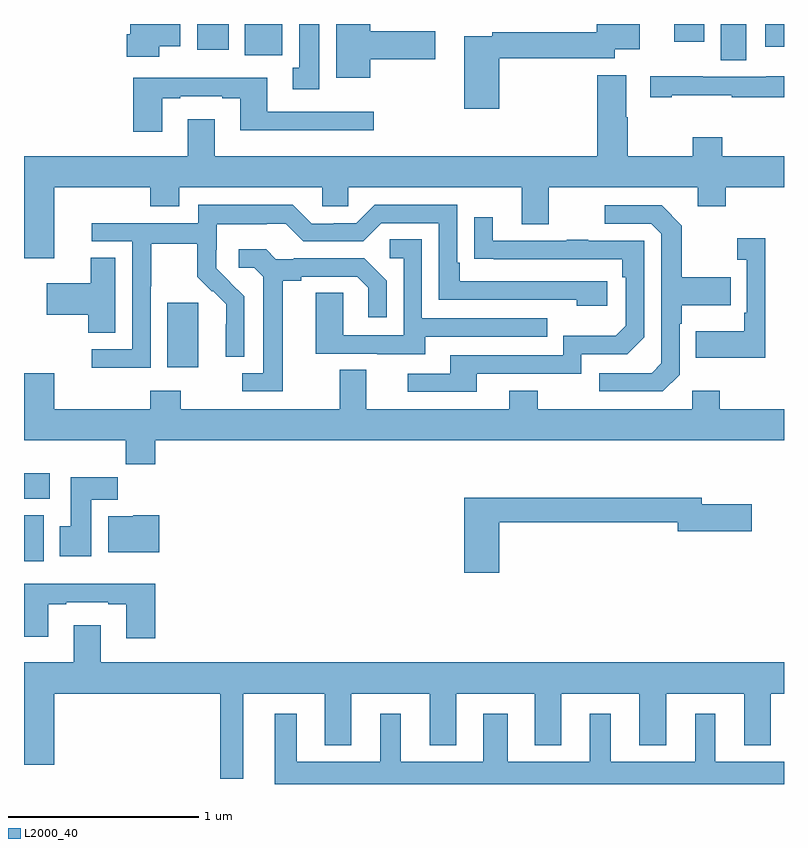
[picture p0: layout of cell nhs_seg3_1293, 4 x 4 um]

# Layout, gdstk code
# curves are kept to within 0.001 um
import gdstk
lib = gdstk.Library(unit=1e-6, precision=1e-09)
def R(c, l, rs):  # rectangles x0, y0, x1, y1
    for r in rs: c.add(gdstk.rectangle(r[:2], r[2:], *l))
def P(c, l, *ps):  # polygons
    for p in ps: c.add(gdstk.Polygon(p, *l))
L2000_40 = (2000, 40)

nhs_seg3_1293 = lib.new_cell('nhs_seg3_1293')
R(nhs_seg3_1293, L2000_40, [(177,741.572,177.103,741.814), (177,741.902,177.136,742.036), (177.755,742.593,177.916,742.933), (180.668,744.208,180.802,744.4), (178.163,744.236,178.36,744.4), (177.911,744.264,178.078,744.4), (180.902,744.279,181,744.4), (180.422,744.306,180.58,744.4)])
P(nhs_seg3_1293, L2000_40, [(178.822,744.215),(179.164,744.215),(179.164,744.362),(178.822,744.362),(178.822,744.4),(178.643,744.4),(178.643,744.116),(178.822,744.116)],
  [(178.555,744.4),(178.448,744.4),(178.448,744.17),(178.415,744.17),(178.415,744.057),(178.555,744.057)],
  [(179.501,744.22),(180.108,744.22),(180.108,744.266),(180.241,744.266),(180.241,744.4),(180.014,744.4),(180.014,744.356),(179.464,744.356),(179.464,744.336),(179.318,744.336),(179.318,743.955),(179.501,743.955)],
  [(177.712,744.284),(177.823,744.284),(177.823,744.4),(177.56,744.4),(177.56,744.345),(177.542,744.345),(177.542,744.227),(177.712,744.227)],
  [(177.16,743.54),(177.665,743.54),(177.665,743.441),(177.817,743.441),(177.817,743.54),(178.569,743.54),(178.569,743.442),(178.707,743.442),(178.707,743.54),(179.621,743.54),(179.621,743.346),(179.761,743.346),(179.761,743.54),(180.545,743.54),(180.545,743.441),(180.693,743.441),(180.693,743.54),(181,743.54),(181,743.704),(180.675,743.704),(180.675,743.803),(180.52,743.803),(180.52,743.704),(180.177,743.704),(180.177,743.909),(180.169,743.909),(180.169,744.13),(180.017,744.13),(180.017,743.704),(178.003,743.704),(178.003,743.899),(177.863,743.899),(177.863,743.704),(177,743.704),(177,743.166),(177.16,743.166)],
  [(180.409,744.025),(180.725,744.025),(180.725,744.015),(181,744.015),(181,744.124),(180.906,744.124),(180.906,744.123),(180.572,744.123),(180.572,744.125),(180.297,744.125),(180.297,744.015),(180.409,744.015)],
  [(177.727,744.009),(177.823,744.009),(177.823,744.021),(178.043,744.021),(178.043,744.009),(178.139,744.009),(178.139,743.84),(178.84,743.84),(178.84,743.937),(178.279,743.937),(178.279,744.118),(177.575,744.118),(177.575,743.832),(177.727,743.832)],
  [(177.666,743.02),(177.669,743.02),(177.669,743.244),(177.913,743.244),(177.913,743.069),(177.99,742.992),(177.993,742.995),(178.064,742.925),(178.064,742.82),(178.061,742.82),(178.061,742.648),(178.158,742.648),(178.158,742.966),(178.012,743.114),(178.012,743.211),(178.014,743.211),(178.014,743.345),(178.277,743.345),(178.277,743.349),(178.377,743.349),(178.47,743.256),(178.785,743.256),(178.881,743.352),(179.184,743.352),(179.184,742.95),(179.909,742.95),(179.909,742.916),(180.07,742.916),(180.07,743.046),(179.293,743.046),(179.293,743.143),(179.28,743.143),(179.28,743.448),(178.845,743.448),(178.749,743.352),(178.631,743.352),(178.631,743.349),(178.515,743.349),(178.415,743.449),(177.918,743.449),(177.918,743.352),(177.357,743.352),(177.357,743.256),(177.57,743.256),(177.57,742.689),(177.357,742.689),(177.357,742.591),(177.666,742.591)],
  [(180.45,742.554),(180.45,742.823),(180.463,742.823),(180.463,742.919),(180.719,742.919),(180.719,743.067),(180.463,743.067),(180.463,743.339),(180.357,743.445),(180.057,743.445),(180.057,743.349),(180.3,743.349),(180.354,743.295),(180.354,742.614),(180.303,742.563),(180.027,742.563),(180.027,742.467),(180.363,742.467)],
  [(179.383,742.56),(179.934,742.56),(179.934,742.662),(180.174,742.662),(180.264,742.752),(180.264,743.259),(179.969,743.259),(179.969,743.264),(179.857,743.264),(179.857,743.259),(179.467,743.259),(179.467,743.383),(179.371,743.383),(179.371,743.164),(180.148,743.163),(180.148,743.066),(180.168,743.066),(180.168,742.812),(180.115,742.759),(179.838,742.759),(179.838,742.656),(179.243,742.656),(179.243,742.56),(179.019,742.56),(179.019,742.464),(179.383,742.464)],
  [(180.902,743.272),(180.753,743.272),(180.753,743.159),(180.804,743.159),(180.804,742.879),(180.792,742.879),(180.792,742.783),(180.535,742.783),(180.535,742.643),(180.902,742.643)],
  [(179.113,742.755),(179.753,742.755),(179.753,742.851),(179.094,742.851),(179.094,743.267),(178.926,743.267),(178.926,743.166),(178.998,743.166),(178.998,742.761),(178.68,742.761),(178.68,742.985),(178.535,742.985),(178.535,742.665),(178.859,742.665),(178.859,742.661),(179.113,742.661)],
  [(178.363,743.048),(178.459,743.048),(178.459,743.07),(178.754,743.07),(178.811,743.013),(178.811,742.857),(178.908,742.857),(178.908,743.05),(178.792,743.166),(178.42,743.166),(178.42,743.163),(178.326,743.163),(178.274,743.215),(178.131,743.215),(178.131,743.118),(178.212,743.118),(178.259,743.071),(178.259,742.563),(178.149,742.563),(178.149,742.467),(178.363,742.467)],
  [(177.481,743.171),(177.35,743.171),(177.35,743.035),(177.12,743.035),(177.12,742.87),(177.338,742.87),(177.338,742.774),(177.481,742.774)],
  [(177.692,742.208),(181,742.208),(181,742.372),(180.663,742.372),(180.663,742.471),(180.516,742.471),(180.516,742.372),(179.703,742.372),(179.703,742.471),(179.555,742.471),(179.555,742.372),(178.801,742.372),(178.801,742.58),(178.661,742.58),(178.661,742.372),(177.825,742.372),(177.825,742.471),(177.665,742.471),(177.665,742.372),(177.16,742.372),(177.16,742.561),(177,742.561),(177,742.208),(177.535,742.208),(177.535,742.084),(177.692,742.084)],
  [(177.355,741.896),(177.494,741.896),(177.494,742.015),(177.245,742.015),(177.245,741.756),(177.188,741.756),(177.188,741.6),(177.355,741.6)],
  [(179.501,741.778),(180.44,741.778),(180.44,741.731),(180.829,741.731),(180.829,741.873),(180.568,741.873),(180.568,741.907),(179.318,741.907),(179.318,741.513),(179.501,741.513)],
  [(177.712,741.814),(177.576,741.814),(177.576,741.808),(177.443,741.808),(177.443,741.62),(177.712,741.62)],
  [(177.692,741.454),(177,741.454),(177,741.176),(177.127,741.176),(177.127,741.345),(177.223,741.345),(177.223,741.357),(177.443,741.357),(177.443,741.345),(177.539,741.345),(177.539,741.168),(177.692,741.168)],
  [(178.153,740.876),(178.583,740.876),(178.583,740.603),(178.723,740.603),(178.723,740.876),(179.135,740.876),(179.135,740.603),(179.275,740.603),(179.275,740.876),(179.687,740.876),(179.687,740.603),(179.827,740.603),(179.827,740.876),(180.239,740.876),(180.239,740.603),(180.379,740.603),(180.379,740.876),(180.791,740.876),(180.791,740.603),(180.931,740.603),(180.931,740.876),(181,740.876),(181,741.04),(177.403,741.04),(177.403,741.235),(177.263,741.235),(177.263,741.04),(177,741.04),(177,740.502),(177.16,740.502),(177.16,740.876),(178.032,740.876),(178.032,740.427),(178.153,740.427)],
  [(181,740.518),(180.637,740.518),(180.637,740.77),(180.533,740.77),(180.533,740.518),(180.088,740.518),(180.088,740.77),(179.978,740.77),(179.978,740.518),(179.545,740.518),(179.545,740.77),(179.417,740.77),(179.417,740.518),(178.984,740.518),(178.984,740.77),(178.874,740.77),(178.874,740.518),(178.435,740.518),(178.435,740.77),(178.319,740.77),(178.319,740.4),(181,740.4)])

lib.write_gds('nhs_seg3_1293.gds')
